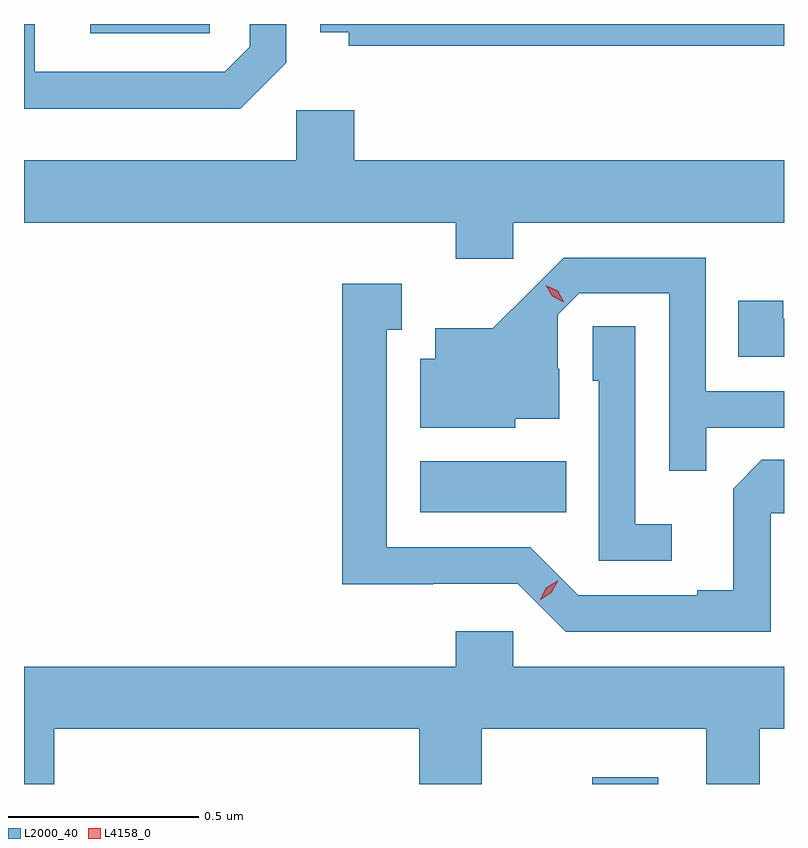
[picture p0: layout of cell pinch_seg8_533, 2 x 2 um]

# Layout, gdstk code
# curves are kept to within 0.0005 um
import gdstk
lib = gdstk.Library(unit=1e-6, precision=1e-09)
def R(c, l, rs):  # rectangles x0, y0, x1, y1
    for r in rs: c.add(gdstk.rectangle(r[:2], r[2:], *l))
def P(c, l, *ps):  # polygons
    for p in ps: c.add(gdstk.Polygon(p, *l))
L2000_40 = (2000, 40)
L4158_0 = (4158, 0)

pinch_seg8_533 = lib.new_cell('pinch_seg8_533')
R(pinch_seg8_533, L2000_40, [(127.168,1101.703,127.342,1101.721), (126.716,1102.418,127.1,1102.552), (125.847,1103.679,126.162,1103.703)])
P(pinch_seg8_533, L2000_40, [(127.673,1103.703),(126.452,1103.703),(126.452,1103.681),(126.528,1103.681),(126.528,1103.646),(127.673,1103.646)],
  [(126.363,1103.601),(126.363,1103.703),(126.267,1103.703),(126.267,1103.643),(126.201,1103.577),(125.701,1103.577),(125.701,1103.703),(125.673,1103.703),(125.673,1103.48),(126.242,1103.48)],
  [(126.96,1103.18),(127.673,1103.18),(127.673,1103.344),(126.542,1103.344),(126.542,1103.476),(126.39,1103.476),(126.39,1103.344),(125.673,1103.344),(125.673,1103.18),(126.809,1103.18),(126.809,1103.085),(126.96,1103.085)],
  [(127.469,1102.641),(127.673,1102.641),(127.673,1102.737),(127.467,1102.737),(127.467,1103.088),(127.094,1103.088),(126.907,1102.903),(126.755,1102.903),(126.755,1102.822),(126.716,1102.822),(126.716,1102.64),(126.966,1102.64),(126.966,1102.664),(127.081,1102.664),(127.081,1102.796),(127.077,1102.796),(127.077,1102.938),(127.134,1102.995),(127.371,1102.995),(127.371,1102.528),(127.469,1102.528)],
  [(127.638,1102.416),(127.673,1102.416),(127.673,1102.556),(127.615,1102.556),(127.539,1102.48),(127.539,1102.213),(127.445,1102.213),(127.445,1102.2),(127.131,1102.2),(127.005,1102.326),(126.628,1102.326),(126.628,1102.899),(126.667,1102.899),(126.667,1103.02),(126.51,1103.02),(126.51,1102.229),(126.75,1102.229),(126.75,1102.23),(126.972,1102.23),(127.098,1102.104),(127.638,1102.104)],
  [(127.673,1102.928),(127.671,1102.928),(127.671,1102.975),(127.552,1102.975),(127.552,1102.827),(127.673,1102.827)],
  [(127.378,1102.387),(127.281,1102.387),(127.281,1102.907),(127.17,1102.907),(127.17,1102.764),(127.185,1102.764),(127.185,1102.29),(127.378,1102.29)],
  [(125.752,1101.848),(126.713,1101.848),(126.713,1101.703),(126.877,1101.703),(126.877,1101.848),(127.469,1101.848),(127.469,1101.703),(127.609,1101.703),(127.609,1101.848),(127.673,1101.848),(127.673,1102.012),(126.96,1102.012),(126.96,1102.105),(126.809,1102.105),(126.809,1102.012),(125.673,1102.012),(125.673,1101.703),(125.752,1101.703)])
P(pinch_seg8_533, L4158_0, [(127.094,1102.971),(127.063,1102.986),(127.046,1103.016),(127.046,1103.016),(127.046,1103.016),(127.077,1103.001),(127.094,1102.972),(127.094,1102.971)],
  [(127.03,1102.187),(127.03,1102.187),(127.047,1102.22),(127.079,1102.239),(127.079,1102.239),(127.079,1102.239),(127.061,1102.206),(127.03,1102.187)])

lib.write_gds('pinch_seg8_533.gds')
